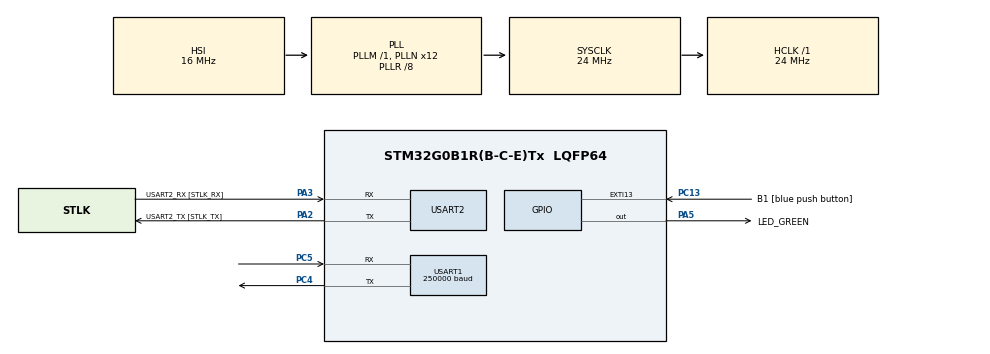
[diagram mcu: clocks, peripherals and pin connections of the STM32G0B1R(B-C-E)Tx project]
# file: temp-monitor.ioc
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ADC1.Channel-0\#ChannelRegularConversion=ADC_CHANNEL_TEMPSENSOR
ADC1.ClockPrescaler=ADC_CLOCK_SYNC_PCLK_DIV4
ADC1.NbrOfConversionFlag=1
ADC1.Rank-0\#ChannelRegularConversion=1
ADC1.SamplingTime-0\#ChannelRegularConversion=ADC_SAMPLINGTIME_COMMON_1
ADC1.SelectedChannel=ADC_CHANNEL_TEMPSENSOR
ADC1.master=1
Mcu.Family=STM32G0
Mcu.Name=STM32G0B1R(B-C-E)Tx
Mcu.Package=LQFP64
NVIC.USART1_IRQn=true\:0\:0\:false\:false\:true\:true\:true\:true
PA13.GPIO_Label=TMS
PA13.Mode=Serial_Wire
PA13.Signal=SYS_SWDIO
PA14-BOOT0.GPIO_Label=TCK
PA14-BOOT0.Mode=Serial_Wire
PA14-BOOT0.Signal=SYS_SWCLK
PA2.GPIO_Label=USART2_TX [STLK_TX]
PA2.Mode=Asynchronous
PA2.Signal=USART2_TX
PA3.GPIO_Label=USART2_RX [STLK_RX]
PA3.Mode=Asynchronous
PA3.Signal=USART2_RX
PA5.GPIO_Label=LED_GREEN
PA5.GPIO_Speed=GPIO_SPEED_FREQ_HIGH
PA5.Signal=GPIO_Output
PC13.GPIO_Label=B1 [blue push button]
PC13.Signal=GPXTI13
PC14-OSC32_IN\ (PC14).Mode=LSE-External-Oscillator
PC14-OSC32_IN\ (PC14).Signal=RCC_OSC32_IN
PC15-OSC32_OUT\ (PC15).Mode=LSE-External-Oscillator
PC15-OSC32_OUT\ (PC15).Signal=RCC_OSC32_OUT
PC4.Mode=Asynchronous
PC4.Signal=USART1_TX
PC5.Mode=Asynchronous
PC5.Signal=USART1_RX
PF0-OSC_IN\ (PF0).GPIO_Label=MCO
PF0-OSC_IN\ (PF0).Mode=HSE-External-Clock-Source
PF0-OSC_IN\ (PF0).Signal=RCC_OSC_IN
ProjectManager.HeapSize=0x200
ProjectManager.StackSize=0x400
ProjectManager.TargetToolchain=STM32CubeIDE
RCC.ADCFreq_Value=24000000
RCC.AHBFreq_Value=24000000
RCC.CortexFreq_Value=24000000
RCC.EXTERNAL_CLOCK_VALUE=12288000
RCC.HCLKFreq_Value=24000000
RCC.HSE_VALUE=8000000
RCC.HSI48_VALUE=48000000
RCC.HSI_VALUE=16000000
RCC.PLLN=12
RCC.PLLR=RCC_PLLR_DIV8
RCC.SYSCLKFreq_VALUE=24000000
RCC.SYSCLKSource=RCC_SYSCLKSOURCE_PLLCLK
RCC.USBFreq_Value=48000000
RCC.VCOOutputFreq_Value=192000000
USART1.BaudRate=250000
USART1.Parity=PARITY_EVEN
USART1.VirtualMode-Asynchronous=VM_ASYNC
USART1.WordLength=WORDLENGTH_9B
USART2.VirtualMode-Asynchronous=VM_ASYNC
VP_ADC1_TempSens_Input.Mode=IN-TempSens
VP_SYS_VS_DBSignals.Mode=DisableDeadBatterySignals
board=NUCLEO-G0B1RE

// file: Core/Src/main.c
/* USER CODE BEGIN Header */
/**
  ******************************************************************************
  * @file           : main.c
  * @brief          : Main program body
  ******************************************************************************
  * @attention
  *
  * Copyright (c) 2026 STMicroelectronics.
  * All rights reserved.
  *
  * This software is licensed under terms that can be found in the LICENSE file
  * in the root directory of this software component.
  * If no LICENSE file comes with this software, it is provided AS-IS.
  *
  ******************************************************************************
  */
/* USER CODE END Header */
#include "main.h"

/* USER CODE BEGIN Includes */
#include "uart_bridge.h"
#include <stdio.h>
/* USER CODE END Includes */

ADC_HandleTypeDef hadc1;

UART_HandleTypeDef huart1;
UART_HandleTypeDef huart2;

/* USER CODE BEGIN PV */
#define RX_BUF_SIZE 64
#define TS_CAL1 *((volatile uint16_t *)0x1FFF75A8)
#define TS_CAL2 *((volatile uint16_t *)0x1FFF75CA)
#define VDD_CAL 3300.0
#define VDD_APP 3000.0

volatile char rx_buf[RX_BUF_SIZE];
volatile uint8_t rx_idx;

volatile float aht_temp, aht_hum;
volatile bool message_received = false;
volatile float itemp;
/* USER CODE END PV */

void SystemClock_Config(void);
static void MX_GPIO_Init(void);
static void MX_ADC1_Init(void);
static void MX_USART1_UART_Init(void);
static void MX_USART2_UART_Init(void);
/* USER CODE BEGIN PFP */

void uart_transmit(unsigned char c);
void uart_print(char *c);
void get_temp(float *temp);
/* USER CODE END PFP */

int main(void)
{

  /* MCU Configuration--------------------------------------------------------*/

  /* Reset of all peripherals, Initializes the Flash interface and the Systick. */
  HAL_Init();

  /* Configure the system clock */
  SystemClock_Config();

  /* Initialize all configured peripherals */
  MX_GPIO_Init();
  MX_ADC1_Init();
  MX_USART1_UART_Init();
  MX_USART2_UART_Init();

  /* Infinite loop */
  /* USER CODE BEGIN WHILE */
  uint8_t count;
  while (1)
  {
    if (message_received) {
      get_temp(&itemp);
      count = sscanf((char*)rx_buf, "%f\t%f", &aht_temp, &aht_hum);

      if (count == 2) {
        HAL_GPIO_TogglePin(LED_GREEN_GPIO_Port, LED_GREEN_Pin);
        HAL_Delay(50);
        HAL_GPIO_TogglePin(LED_GREEN_GPIO_Port, LED_GREEN_Pin);
      } else {
      }
      message_received = false;
    }
    /* USER CODE END WHILE */

  }
}

void SystemClock_Config(void)
{
  RCC_OscInitTypeDef RCC_OscInitStruct = {0};
  RCC_ClkInitTypeDef RCC_ClkInitStruct = {0};

  /** Configure the main internal regulator output voltage
  */
  HAL_PWREx_ControlVoltageScaling(PWR_REGULATOR_VOLTAGE_SCALE1);

  /** Initializes the RCC Oscillators according to the specified parameters
  * in the RCC_OscInitTypeDef structure.
  */
  RCC_OscInitStruct.OscillatorType = RCC_OSCILLATORTYPE_HSI;
  RCC_OscInitStruct.HSIState = RCC_HSI_ON;
  RCC_OscInitStruct.HSIDiv = RCC_HSI_DIV1;
  RCC_OscInitStruct.HSICalibrationValue = RCC_HSICALIBRATION_DEFAULT;
  RCC_OscInitStruct.PLL.PLLState = RCC_PLL_ON;
  RCC_OscInitStruct.PLL.PLLSource = RCC_PLLSOURCE_HSI;
  RCC_OscInitStruct.PLL.PLLM = RCC_PLLM_DIV1;
  RCC_OscInitStruct.PLL.PLLN = 12;
  RCC_OscInitStruct.PLL.PLLP = RCC_PLLP_DIV2;
  RCC_OscInitStruct.PLL.PLLQ = RCC_PLLQ_DIV2;
  RCC_OscInitStruct.PLL.PLLR = RCC_PLLR_DIV8;
  if (HAL_RCC_OscConfig(&RCC_OscInitStruct) != HAL_OK)
  {
    Error_Handler();
  }

  /** Initializes the CPU, AHB and APB buses clocks
  */
  RCC_ClkInitStruct.ClockType = RCC_CLOCKTYPE_HCLK|RCC_CLOCKTYPE_SYSCLK
                              |RCC_CLOCKTYPE_PCLK1;
  RCC_ClkInitStruct.SYSCLKSource = RCC_SYSCLKSOURCE_PLLCLK;
  RCC_ClkInitStruct.AHBCLKDivider = RCC_SYSCLK_DIV1;
  RCC_ClkInitStruct.APB1CLKDivider = RCC_HCLK_DIV1;

  if (HAL_RCC_ClockConfig(&RCC_ClkInitStruct, FLASH_LATENCY_0) != HAL_OK)
  {
    Error_Handler();
  }
}

static void MX_ADC1_Init(void)
{

  ADC_ChannelConfTypeDef sConfig = {0};

  /** Configure the global features of the ADC (Clock, Resolution, Data Alignment and number of conversion)
  */
  hadc1.Instance = ADC1;
  hadc1.Init.ClockPrescaler = ADC_CLOCK_SYNC_PCLK_DIV4;
  hadc1.Init.Resolution = ADC_RESOLUTION_12B;
  hadc1.Init.DataAlign = ADC_DATAALIGN_RIGHT;
  hadc1.Init.ScanConvMode = ADC_SCAN_DISABLE;
  hadc1.Init.EOCSelection = ADC_EOC_SINGLE_CONV;
  hadc1.Init.LowPowerAutoWait = DISABLE;
  hadc1.Init.LowPowerAutoPowerOff = DISABLE;
  hadc1.Init.ContinuousConvMode = DISABLE;
  hadc1.Init.NbrOfConversion = 1;
  hadc1.Init.DiscontinuousConvMode = DISABLE;
  hadc1.Init.ExternalTrigConv = ADC_SOFTWARE_START;
  hadc1.Init.ExternalTrigConvEdge = ADC_EXTERNALTRIGCONVEDGE_NONE;
  hadc1.Init.DMAContinuousRequests = DISABLE;
  hadc1.Init.Overrun = ADC_OVR_DATA_PRESERVED;
  hadc1.Init.SamplingTimeCommon1 = ADC_SAMPLETIME_1CYCLE_5;
  hadc1.Init.SamplingTimeCommon2 = ADC_SAMPLETIME_1CYCLE_5;
  hadc1.Init.OversamplingMode = DISABLE;
  hadc1.Init.TriggerFrequencyMode = ADC_TRIGGER_FREQ_HIGH;
  if (HAL_ADC_Init(&hadc1) != HAL_OK)
  {
    Error_Handler();
  }

  /** Configure Regular Channel
  */
  sConfig.Channel = ADC_CHANNEL_TEMPSENSOR;
  sConfig.Rank = ADC_REGULAR_RANK_1;
  sConfig.SamplingTime = ADC_SAMPLINGTIME_COMMON_1;
  if (HAL_ADC_ConfigChannel(&hadc1, &sConfig) != HAL_OK)
  {
    Error_Handler();
  }
  /* USER CODE BEGIN ADC1_Init 2 */
  ADC1->CR |= ADC_CR_ADEN;
  ADC->CCR |= ADC_CCR_TSEN;
  ADC1->SMPR |=  ADC_SMPR_SMP2;
  /* USER CODE END ADC1_Init 2 */

}

static void MX_USART1_UART_Init(void)
{

  huart1.Instance = USART1;
  huart1.Init.BaudRate = 250000;
  huart1.Init.WordLength = UART_WORDLENGTH_9B;
  huart1.Init.StopBits = UART_STOPBITS_1;
  huart1.Init.Parity = UART_PARITY_EVEN;
  huart1.Init.Mode = UART_MODE_TX_RX;
  huart1.Init.HwFlowCtl = UART_HWCONTROL_NONE;
  huart1.Init.OverSampling = UART_OVERSAMPLING_16;
  huart1.Init.OneBitSampling = UART_ONE_BIT_SAMPLE_DISABLE;
  huart1.Init.ClockPrescaler = UART_PRESCALER_DIV1;
  huart1.AdvancedInit.AdvFeatureInit = UART_ADVFEATURE_NO_INIT;
  if (HAL_UART_Init(&huart1) != HAL_OK)
  {
    Error_Handler();
  }
  if (HAL_UARTEx_SetTxFifoThreshold(&huart1, UART_TXFIFO_THRESHOLD_1_8) != HAL_OK)
  {
    Error_Handler();
  }
  if (HAL_UARTEx_SetRxFifoThreshold(&huart1, UART_RXFIFO_THRESHOLD_1_8) != HAL_OK)
  {
    Error_Handler();
  }
  if (HAL_UARTEx_DisableFifoMode(&huart1) != HAL_OK)
  {
    Error_Handler();
  }
  /* USER CODE BEGIN USART1_Init 2 */
  USART1->CR1 |= USART_CR1_RE;
  USART1->CR1 |= USART_CR1_RXNEIE_RXFNEIE;
  USART1->CR1 |= USART_CR1_UE;
  HAL_NVIC_SetPriority(USART1_IRQn, 0, 0);
  HAL_NVIC_EnableIRQ(USART1_IRQn);
  /* USER CODE END USART1_Init 2 */

}

static void MX_USART2_UART_Init(void)
{

  huart2.Instance = USART2;
  huart2.Init.BaudRate = 250000;
  huart2.Init.WordLength = UART_WORDLENGTH_8B;
  huart2.Init.StopBits = UART_STOPBITS_1;
  huart2.Init.Parity = UART_PARITY_NONE;
  huart2.Init.Mode = UART_MODE_TX_RX;
  huart2.Init.HwFlowCtl = UART_HWCONTROL_NONE;
  huart2.Init.OverSampling = UART_OVERSAMPLING_16;
  huart2.Init.OneBitSampling = UART_ONE_BIT_SAMPLE_DISABLE;
  huart2.Init.ClockPrescaler = UART_PRESCALER_DIV1;
  huart2.AdvancedInit.AdvFeatureInit = UART_ADVFEATURE_NO_INIT;
  if (HAL_UART_Init(&huart2) != HAL_OK)
  {
    Error_Handler();
  }
  if (HAL_UARTEx_SetTxFifoThreshold(&huart2, UART_TXFIFO_THRESHOLD_1_8) != HAL_OK)
  {
    Error_Handler();
  }
  if (HAL_UARTEx_SetRxFifoThreshold(&huart2, UART_RXFIFO_THRESHOLD_1_8) != HAL_OK)
  {
    Error_Handler();
  }
  if (HAL_UARTEx_DisableFifoMode(&huart2) != HAL_OK)
  {
    Error_Handler();
  }

}

static void MX_GPIO_Init(void)
{
  GPIO_InitTypeDef GPIO_InitStruct = {0};

  /* GPIO Ports Clock Enable */
  __HAL_RCC_GPIOC_CLK_ENABLE();
  __HAL_RCC_GPIOF_CLK_ENABLE();
  __HAL_RCC_GPIOA_CLK_ENABLE();

  /*Configure GPIO pin Output Level */
  HAL_GPIO_WritePin(LED_GREEN_GPIO_Port, LED_GREEN_Pin, GPIO_PIN_RESET);

  /*Configure GPIO pin : B1_Pin */
  GPIO_InitStruct.Pin = B1_Pin;
  GPIO_InitStruct.Mode = GPIO_MODE_IT_RISING;
  GPIO_InitStruct.Pull = GPIO_NOPULL;
  HAL_GPIO_Init(B1_GPIO_Port, &GPIO_InitStruct);

  /*Configure GPIO pin : LED_GREEN_Pin */
  GPIO_InitStruct.Pin = LED_GREEN_Pin;
  GPIO_InitStruct.Mode = GPIO_MODE_OUTPUT_PP;
  GPIO_InitStruct.Pull = GPIO_NOPULL;
  GPIO_InitStruct.Speed = GPIO_SPEED_FREQ_HIGH;
  HAL_GPIO_Init(LED_GREEN_GPIO_Port, &GPIO_InitStruct);

}

/* USER CODE BEGIN 4 */

void uart_transmit(unsigned char c)
{
  while (!(USART2->ISR & USART_ISR_TXE_TXFNF))
    ;
  USART2->TDR = c;
}

void uart_print(char *c) {
  while (*c) {
    uart_transmit(*c);
    c++;
  }
}

void get_temp(float *temp) {
  ADC1->CR |= ADC_CR_ADSTART;
  while (!(ADC1->ISR & ADC_ISR_EOC));
    ;
  uint16_t raw = ADC1->DR;
  raw = (uint16_t)(raw * (VDD_APP / VDD_CAL));

  float cal_diff = TS_CAL2 - TS_CAL1;
  *temp = ((100 * (raw - TS_CAL1)) / cal_diff) + 30;
}
/* USER CODE END 4 */

void Error_Handler(void)
{
  __disable_irq();
  while (1)
  {
  }
}
